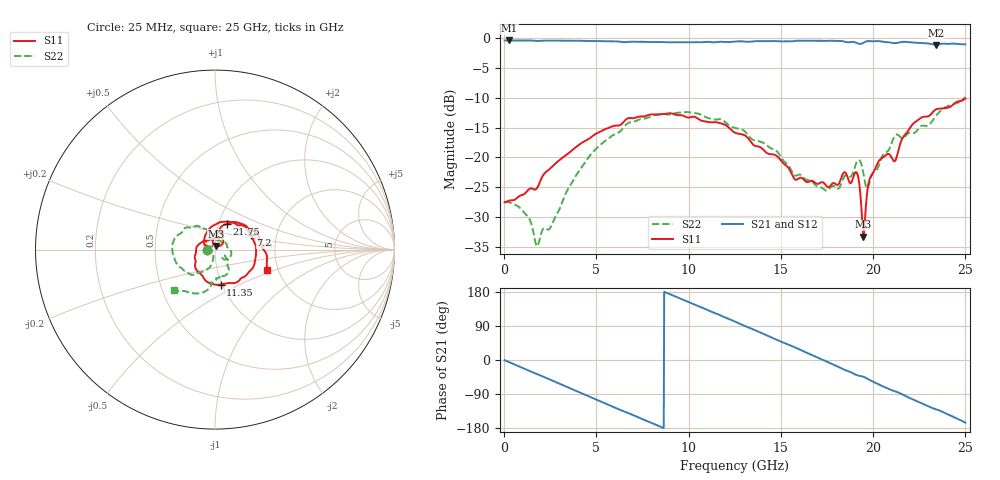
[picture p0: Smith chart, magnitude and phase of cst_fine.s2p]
! RG_ts6_sw_gnd: Finite board 24 × 16 mm, ThunderScope stack, via F → In3 (stub to B) through In1 GND / In2 GND / In4 GND, four GND vias at 1 mm joined to In1 and In4 and In2
! stackup: ThunderScope Rev5.3 6-layer with the In2 plane
! ports: 1 F, 2 In3
! CST Studio Suite 2025.5 Release from 2025-05-30, time domain (FIT, hexahedral, PBA), 772992 mesh cells, 213 s
! mesh: {'lpw': 30.0, 'lpb': 30.0, 'minstep': 0.0, 'ratio': 20}; ports: port 1 (face); port 2 (face)
! interpolated from CST's 1001 samples to the case grid
# Hz S RI R 50
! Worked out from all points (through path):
!   1000 points, 25 MHz to 25 GHz, reference 50 ohm
!   highest |S21| = -0.37 dB at 275 MHz (marker M1); lowest = -1.1 dB at 23.4 GHz (marker M2)
!   group delay of S21, straight-line fit = 58.1 ps
!   lowest |S11| = -33.3 dB at 19.48 GHz (marker M3), VSWR 1.04, Z = 50.7 + j2.05 ohm
!   |S11| at or under -10 dB: start of sweep to end of sweep
!   |S22| runs from -34.9 to -9.9 dB; largest |S21 - S12| = 0.003
!   S11 on the Smith chart (normalised r, x): 25 MHz: 0.92, +0.00; 7.2 GHz: 1.48, +0.26; 11.35 GHz: 0.98, -0.40; 21.75 GHz: 1.09, +0.32; 25 GHz: 1.75, -0.43
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2.5e7  -0.0419 9.06e-05  0.9572 -0.00861  0.958 -0.00882  -0.0423 8.67e-05
2.75e8  -0.0432 0.00246  0.9533 -0.096  0.9525 -0.0961  -0.0419 0.00115
1.3e9  -0.0502 0.0172  0.8515 -0.438  0.8514 -0.4388  -0.0316 0.0018
1.8e9  -0.0506 0.0231  0.7514 -0.58  0.752 -0.5806  -0.0167 -0.00656
4.2e9  -0.0141 0.1313  0.0365 -0.9511  0.0363 -0.9516  -0.019 -0.08
5.55e9  0.0807 0.1543  -0.4145 -0.849  -0.4148 -0.8485  -0.0681 -0.1225
7.2e9  0.2009 0.0828  -0.8063 -0.4694  -0.8068 -0.4694  -0.1632 -0.1223
8.35e9  0.2284 -0.0263  -0.9232 -0.1062  -0.9235 -0.1063  -0.2159 -0.0737
9.75e9  0.1623 -0.1516  -0.857 0.3484  -0.8569 0.3487  -0.2389 0.00847
1.135e10  0.031 -0.1947  -0.5316 0.7556  -0.5321 0.7562  -0.1849 0.0942
1.2525e10  -0.0723 -0.1434  -0.1823 0.9216  -0.1827 0.9217  -0.1271 0.122
1.4425e10  -0.1057 -0.011  0.4594 0.8284  0.4597 0.8288  -0.0454 0.1109
1.6675e10  -0.0287 0.0566  0.9274 0.2166  0.9273 0.2173  0.00212 0.0629
1.81e10  -0.00174 0.0588  0.9046 -0.2892  0.9049 -0.2897  0.0345 0.0422
1.9075e10  0.0356 0.0661  0.7122 -0.5793  0.7128 -0.5787  0.0884 -0.00607
1.9475e10  0.00751 0.0202  0.6562 -0.6403  0.6548 -0.6401  0.0489 -0.054
1.985e10  -0.00619 0.0678  0.5579 -0.7636  0.5588 -0.7644  0.0559 -0.0344
2.085e10  0.0433 0.0973  0.2189 -0.8983  0.2196 -0.8971  0.0705 -0.0916
2.12e10  0.031 0.0885  0.1115 -0.9022  0.1102 -0.9028  0.0653 -0.1383
2.175e10  0.0655 0.1418  -0.0808 -0.9291  -0.0822 -0.9302  0.0282 -0.1481
2.34e10  0.2377 0.0853  -0.5661 -0.6731  -0.5658 -0.675  -0.0359 -0.2195
2.5e10  0.2902 -0.1117  -0.8578 -0.2223  -0.855 -0.2227  -0.2276 -0.2253
